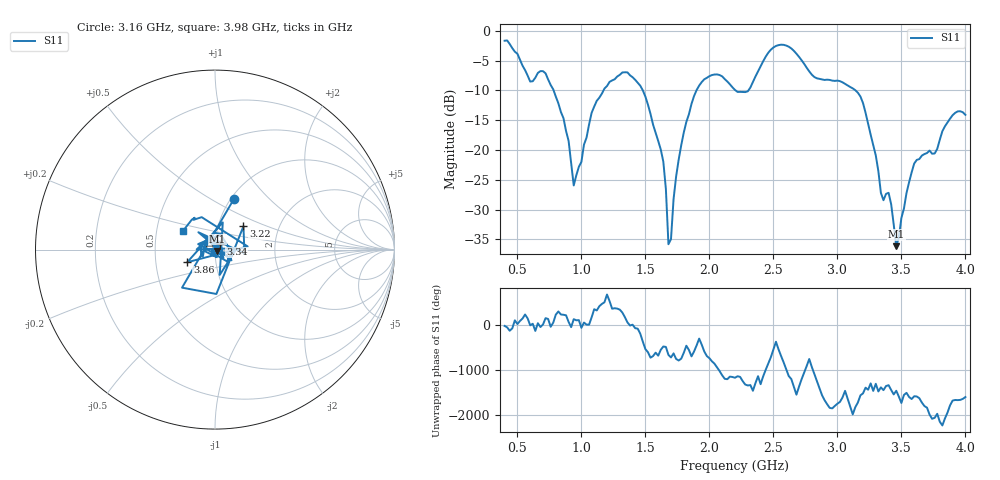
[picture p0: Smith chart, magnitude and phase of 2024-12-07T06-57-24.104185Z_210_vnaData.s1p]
!Created with skrf (http://scikit-rf.org).
# Hz S RI R 50.0
!freq ReS11 ImS11
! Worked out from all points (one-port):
!   181 points, 400 MHz to 4 GHz, reference 50 ohm
!   lowest |S11| = -36.1 dB at 3.46 GHz (marker M1), VSWR 1.03, Z = 51.4 - j0.806 ohm
!   |S11| at or under -10 dB: 782.6 MHz to 1.173 GHz (390.5 MHz wide, 39.9 % of centre); 1.48 GHz to 1.899 GHz (419.5 MHz wide, 24.8 % of centre); 3.141 GHz to end of sweep (the widest 3 of 4)
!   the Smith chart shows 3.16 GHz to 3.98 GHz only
!   S11 on the Smith chart (normalised r, x): 3.16 GHz: 1.03, +0.64; 3.22 GHz: 1.32, +0.36; 3.34 GHz: 1.06, +0.07; 3.86 GHz: 0.73, -0.11; 3.98 GHz: 0.68, +0.15
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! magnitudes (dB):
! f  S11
! 400 MHz  -1.7
! 600 MHz  -8.5
! 720 MHz  -7.2
! 860 MHz  -14.7
! 940 MHz  -26.0
! 1.1 GHz  -12.7
! 1.3 GHz  -7.4
! 1.52 GHz  -12.4
! 1.64 GHz  -22.0
! 1.66 GHz  -26.6
! 1.68 GHz  -35.8
! 1.7 GHz  -35.0
! 1.76 GHz  -21.6
! 1.94 GHz  -8.6
! 2.2 GHz  -9.9
! 2.3 GHz  -10.2
! 2.5 GHz  -2.8
! 2.66 GHz  -3.4
! 3.1 GHz  -9.4
! 3.16 GHz  -10.4
! 3.22 GHz  -13.8
! 3.34 GHz  -27.2
! 3.4 GHz  -27.2
! 3.46 GHz  -36.1
! 3.56 GHz  -25.4
! 3.86 GHz  -15.4
! 3.98 GHz  -13.7
! 4 GHz  -14.1
